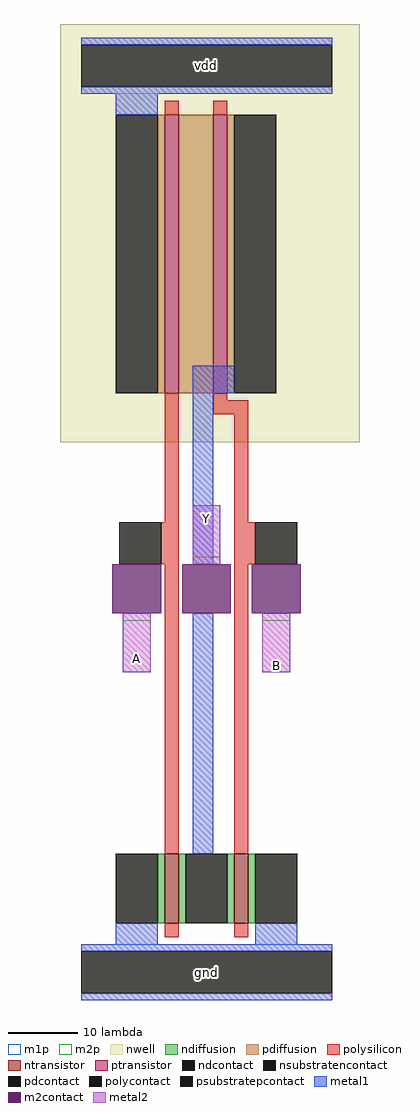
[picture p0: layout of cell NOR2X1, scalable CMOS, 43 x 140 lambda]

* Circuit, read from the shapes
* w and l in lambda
.subckt NOR2X1 A B Y vdd gnd
M1 Y A gnd gnd nfet w=10 l=2
M2 gnd B Y gnd nfet w=10 l=2
M3 n1 A vdd vdd pfet w=40 l=2
M4 Y B n1 vdd pfet w=40 l=2
.ends

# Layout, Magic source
magic
tech scmos
magscale 1 2
<< nwell >>
rect -12 152 74 272
<< ntransistor >>
rect 18 14 22 34
rect 38 14 42 34
<< ptransistor >>
rect 18 166 22 246
rect 32 166 36 246
<< ndiffusion >>
rect 16 14 18 34
rect 22 14 24 34
rect 36 14 38 34
rect 42 14 44 34
<< pdiffusion >>
rect 16 166 18 246
rect 22 166 32 246
rect 36 166 38 246
<< ndcontact >>
rect 4 14 16 34
rect 24 14 36 34
rect 44 14 56 34
<< pdcontact >>
rect 4 166 16 246
rect 38 166 50 246
<< psubstratepcontact >>
rect -6 -6 66 6
<< nsubstratencontact >>
rect -6 254 66 266
<< polysilicon >>
rect 18 246 22 250
rect 32 246 36 250
rect 18 129 22 166
rect 32 164 36 166
rect 32 160 42 164
rect 17 117 22 129
rect 18 34 22 117
rect 38 129 42 160
rect 38 117 44 129
rect 38 34 42 117
rect 18 10 22 14
rect 38 10 42 14
<< polycontact >>
rect 5 117 17 129
rect 44 117 56 129
<< metal1 >>
rect -6 266 66 268
rect -6 252 66 254
rect 4 246 16 252
rect 26 166 38 174
rect 26 117 32 166
rect 26 34 32 103
rect 4 8 16 14
rect 44 8 56 14
rect -6 6 66 8
rect -6 -8 66 -6
<< m2contact >>
rect 3 103 17 117
rect 23 103 37 117
rect 43 103 57 117
<< metal2 >>
rect 26 117 34 134
rect 6 86 14 103
rect 46 86 54 103
<< m1p >>
rect -6 252 66 268
rect -6 -8 66 8
<< m2p >>
rect 26 119 34 134
rect 6 86 14 101
rect 46 86 54 101
<< labels >>
rlabel metal2 10 90 10 90 1 A
port 1 n signal input
rlabel metal2 50 88 50 88 5 B
port 2 n signal input
rlabel metal2 30 130 30 130 1 Y
port 3 n signal output
rlabel metal1 -6 252 66 268 0 vdd
port 4 nsew power bidirectional abutment
rlabel metal1 -6 -8 66 8 0 gnd
port 5 nsew ground bidirectional abutment
<< properties >>
string FIXED_BBOX 0 0 60 260
string LEFclass CORE
string LEFsite core
string LEFsymmetry X Y
<< end >>
